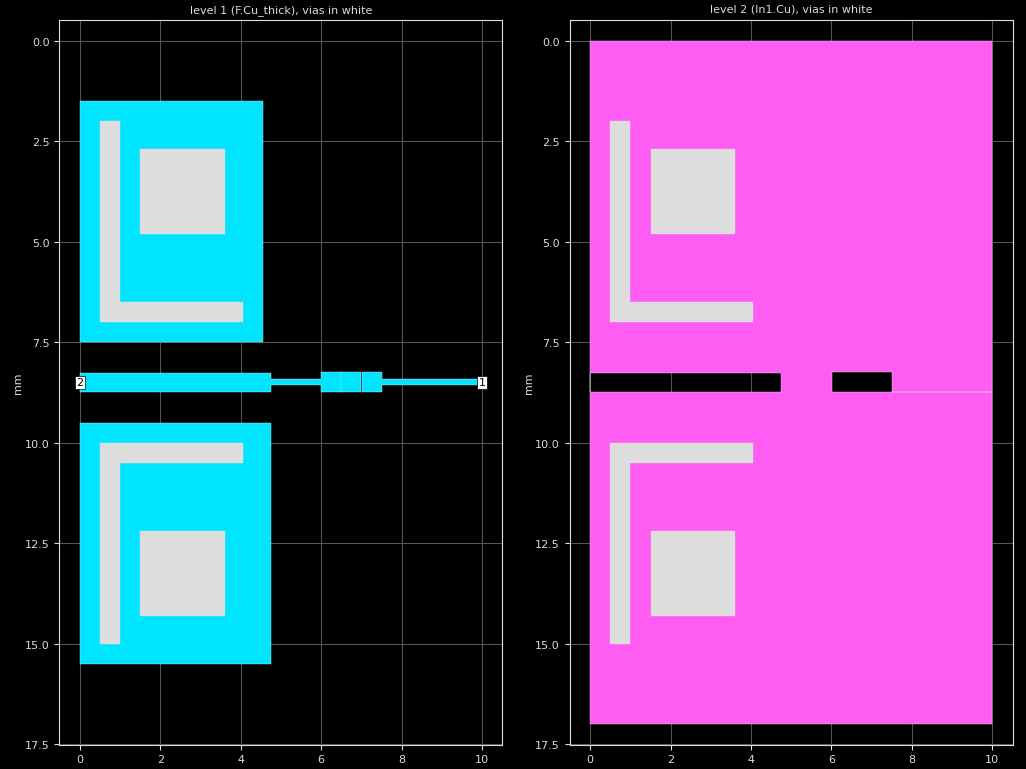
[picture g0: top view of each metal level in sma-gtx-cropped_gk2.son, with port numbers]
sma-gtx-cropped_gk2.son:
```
FTYP SONPROJ 19 ! Sonnet Project File
VER 18.52
HEADER
LIC sonnet8.12.50847
DAT 02/14/2022 16:12:00
BUILT_BY_CREATED dxf 18.52 12/15/2021 18:24:32
BUILT_BY_SAVED sonnet 18.52
MDATE 02/14/2022 16:10:23
HDATE 02/14/2022 16:10:23
ANN Created by dxfgeo, Sonnet Software Inc.
ANN 
ANN sma-gtx-cropped_gk:
ANN 
ANN replaced single 100000 pF ideal capacitor with two 50000 pf capacitors at the outer edges of the pads
ANN had to add 1 cell polygons to pads on F.Cu_thick ayer to attach the components
ANN had to add 2-cell polygons to ground on In1.Cu layer to attach the grounds to
ANN component port cal standards at defaul
ANN changed port 1 and port to cal standards to default
ANN 
ANN _gk2:
ANN 
ANN removed ideal components and 1-cell and 2-cell polygons
ANN defined new SheetCap Tech layer and metal type,with Xdc set to variable Xcap
ANN Xcap is an equation defined to produce the reactance of a 100000 pF capacitor
ANN 
ANN 
ANN 
END HEADER
DIM
ANG DEG
CAP PF
CON /OH
FREQ GHZ
IND NH
LNG MM
RES OH
END DIM
CONTROL
VARSWP
OPTIONS  -dj
SPEED 1
CACHE_ABS 2
Q_ACC N
END CONTROL
GEO
SYM
TMET "Free Space" 0 FREESPACE 376.7303136 0 0 0
BMET "Lossless" 0 SUP 0 0 0 0
MET "Copper_1oz_thin" 1 NOR 58000000 0.5 0.035 
MET "Copper_1oz_thick" 2 TMM 58000000 0.5 0.035 2
MET "Copper_0.5oz_thin" 4 NOR 58000000 0.5 0.017 
MET "Copper_0.5oz_thick" 12 TMM 58000000 0.5 0.017 2
MET "Copper_0.5oz_thick_down" 5 TMM 58000000 0.5 0.017 2 CDVY TDWN
MET "Copper_1oz_thick_down" 3 TMM 58000000 0.5 0.035 2 CDVY TDWN
MET "SheetCap" 25 SUP 0 0 "Xcap" 0
BOX 12 10 17 800 1360 20 0
      5 1 1 0 0 0 0 "Air"
      0.04 3.5 1 0.025 0 0 0 "Soldermask"
      0.075 3.39 1 0.004 0 0 0 "Panasonic_R-5775(G)"
      0.068 3.56 1 0.004 0 0 0 "Panasonic_R-5670(G)"
      0.13 3.39 1 0.004 0 0 0 "Panasonic_R-5775(G)"
      0.092 3.56 1 0.004 0 0 0 "Panasonic_R-5670(G)"
      0.609 3.39 1 0.004 0 0 0 "Panasonic_R-5775(G)"
      0.092 3.56 1 0.004 0 0 0 "Panasonic_R-5670(G)"
      0.13 3.39 1 0.004 0 0 0 "Panasonic_R-5775(G)"
      0.068 3.56 1 0.004 0 0 0 "Panasonic_R-5670(G)"
      0.075 3.39 1 0.004 0 0 0 "Panasonic_R-5775(G)"
      0.04 3.5 1 0.025 0 0 0 "Soldermask"
      5 1 1 0 0 0 0 "Air"
TECHLAY METAL F.Cu_thick L1D0 -2 -65534 CAD F.Cu_thick drawing 
1 0 1 N 6470 1 1 100 100 0 0 0 Y
END
END
TECHLAY VIA Via1 L9D0 -13 -65534 CAD Via1 drawing 
VIA POLYGON
1 0 -1 N 6639 1 1 100 100 0 0 0 Y
TOLEVEL 10 RING NOCOVERS
END
END
TECHLAY METAL F.Cu_thin <UNSPECIFIED> -1 -65534 CAD F.Cu_thin drawing 
1 0 0 N 6476 1 1 100 100 0 0 0 Y
END
END
TECHLAY METAL SheetCap <UNSPECIFIED> -14 0 
1 0 6 N 6629 1 1 100 100 0 0 0 Y
END
END
TECHLAY METAL In1.Cu L2D0 -3 -65534 CAD In1.Cu drawing 
2 0 0 N 6481 1 1 100 100 0 0 0 Y
END
END
TECHLAY METAL In2.Cu_thick L3D0 -5 -65534 CAD In2.Cu_thick drawing 
3 0 3 N 6484 1 1 100 100 0 0 0 Y
END
END
TECHLAY METAL In2.Cu_thin <UNSPECIFIED> -4 -65534 CAD In2.Cu drawing 
3 0 2 N 6486 1 1 100 100 0 0 0 Y
END
END
TECHLAY METAL In3.Cu L4D0 -6 -65534 CAD In3.Cu drawing 
4 0 0 N 6489 1 1 100 100 0 0 0 Y
END
END
TECHLAY METAL In4.Cu L5D0 -7 -65534 CAD In4.Cu drawing 
7 0 0 N 6494 1 1 100 100 0 0 0 Y
END
END
TECHLAY METAL In5.Cu_thick L6D0 -9 -65534 CAD In5.Cu_thick drawing 
8 0 4 N 6497 1 1 100 100 0 0 0 Y
END
END
TECHLAY METAL In5.Cu_thin <UNSPECIFIED> -8 -65534 CAD In5.Cu drawing 
8 0 2 N 6499 1 1 100 100 0 0 0 Y
END
END
TECHLAY METAL In6.Cu L7D0 -10 -65534 CAD In6.Cu drawing 
9 0 0 N 6502 1 1 100 100 0 0 0 Y
END
END
TECHLAY METAL B.Cu_thick L8D0 -12 -65534 CAD B.Cu_thick drawing 
10 0 5 N 6505 1 1 100 100 0 0 0 Y
END
END
TECHLAY METAL B.Cu_thin <UNSPECIFIED> -11 -65534 CAD B.Cu_thin drawing 
10 0 0 N 6507 1 1 100 100 0 0 0 Y
END
END
VALVAR Xcap NONE "-1/(2*PI*FREQ*1e5*1e-12)" "Reactance of 100000 pF Capacitor"
LORGN 0 17 U 
POR1 BOX
POLY 6086 1
5
2 50 0 0 0 0.007 8.5 
POR1 BOX
POLY 6263 1
1
1 50 0 0 0 10 8.5 
NUM 10
1 13 1 N 6086 1 1 100 100 0 0 0 Y
TLAYNAM F.Cu_thick INH
6.507 8.25
6.007 8.25
6.007 8.43
4.757 8.43
4.757 8.26
0.007 8.26
0.007 8.74
4.757 8.74
4.757 8.57
6.007 8.57
6.007 8.75
6.507 8.75
6.507 8.25
END
1 5 1 N 6088 1 1 100 100 0 0 0 Y
TLAYNAM F.Cu_thick INH
4.757 9.5
0.007 9.5
0.007 15.5
4.757 15.5
4.757 9.5
END
1 9 1 N 6263 1 1 100 100 0 0 0 Y
TLAYNAM F.Cu_thick INH
7.507 8.57
10 8.57
10 8.43
7.507 8.43
7.507 8.25
7.007 8.25
7.007 8.75
7.507 8.75
7.507 8.57
END
1 5 1 N 6299 1 1 100 100 0 0 0 Y
TLAYNAM F.Cu_thick INH
4.557 1.5
0 1.5
0 7.5
4.557 7.5
4.557 1.5
END
VIA POLYGON
1 5 -1 N 6187 1 1 100 100 0 0 0 Y
TOLEVEL 10 RING NOCOVERS
TLAYNAM Via1 INH
1.507 2.7
3.6 2.7
3.6 4.8
1.507 4.8
1.507 2.7
END
VIA POLYGON
1 5 -1 N 6189 1 1 100 100 0 0 0 Y
TOLEVEL 10 RING NOCOVERS
TLAYNAM Via1 INH
1.507 12.2
3.6 12.2
3.6 14.3
1.507 14.3
1.507 12.2
END
VIA POLYGON
1 8 -1 N 6425 1 1 100 100 0 0 0 Y
TOLEVEL 10 RING NOCOVERS
TLAYNAM Via1 INH
4.05 6.5
1 6.5
1 2
0.5 2
0.5 6.5
0.5 7
4.05 7
4.05 6.5
END
VIA POLYGON
1 8 -1 N 6426 1 1 100 100 0 0 0 Y
TOLEVEL 10 RING NOCOVERS
TLAYNAM Via1 INH
4.05 10.5
1 10.5
1 15
0.5 15
0.5 10.5
0.5 10
4.05 10
4.05 10.5
END
1 5 6 N 6631 1 1 100 100 0 0 0 Y
TLAYNAM SheetCap INH
6.5 8.25
7 8.25
7 8.75
6.5 8.75
6.5 8.25
END
2 20 0 N 6452 1 1 100 100 0 0 0 Y
TLAYNAM In1.Cu INH
10 8.75
10 8.75
7.507 8.75
6.007 8.75
6.007 8.25
7.507 8.25
7.507 8.75
10 8.75
10 0
0 0
0 8.74
0.007 8.74
0.007 8.26
4.757 8.26
4.757 8.74
0.007 8.74
0 8.74
0 17
10 17
10 8.75
END
END GEO
OPT
MAX 100
END OPT
VARSWP
ENABLED Y
FREQ Y AY ABS_ENTRY 0.001 16.0 -1 300 
END
END VARSWP
3DOPTIONS
GLOBAL 2
ALL 13 1
END 3DOPTIONS
```
